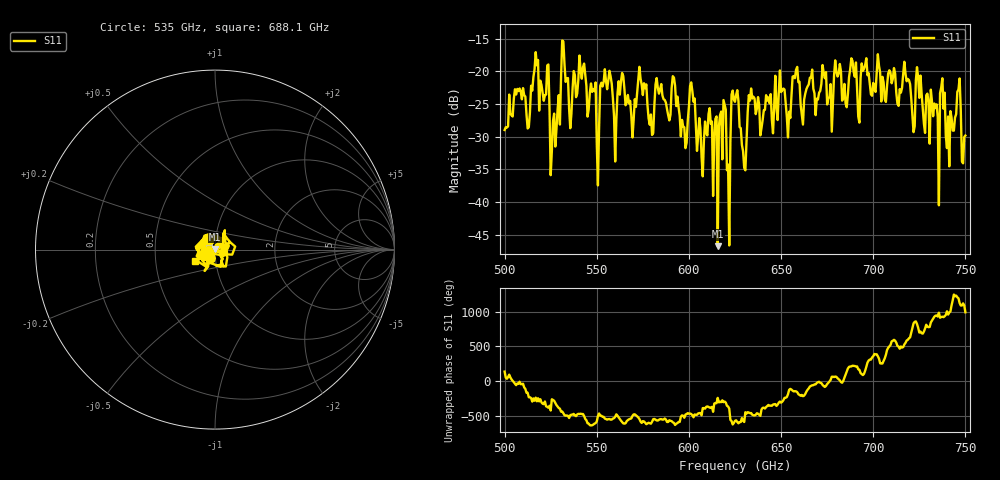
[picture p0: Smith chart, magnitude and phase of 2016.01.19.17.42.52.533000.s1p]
!Created with skrf (http://scikit-rf.org).
# GHz S RI R 50.0
!freq ReS11 ImS11
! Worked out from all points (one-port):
!   401 points, 500 GHz to 750 GHz, reference 50 ohm
!   lowest |S11| = -46.7 dB at 615.6 GHz (marker M1), VSWR 1.01, Z = 49.8 + j0.413 ohm
!   |S11| at or under -10 dB: start of sweep to end of sweep
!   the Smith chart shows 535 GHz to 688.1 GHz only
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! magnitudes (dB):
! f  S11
! 500 GHz  -29.0
! 513.1 GHz  -28.5
! 516.9 GHz  -17.1
! 526.2 GHz  -27.6
! 531.2 GHz  -15.3
! 535.6 GHz  -28.7
! 541.9 GHz  -21.1
! 550 GHz  -31.0
! 553.1 GHz  -22.3
! 560 GHz  -33.8
! 562.5 GHz  -23.6
! 579.4 GHz  -26.6
! 583.1 GHz  -22.5
! 593.8 GHz  -23.9
! 615.6 GHz  -46.7
! 618.8 GHz  -24.4
! 621.9 GHz  -46.6
! 625 GHz  -24.7
! 630 GHz  -34.8
! 633.8 GHz  -22.6
! 656.2 GHz  -20.8
! 687.5 GHz  -19.7
! 718.8 GHz  -21.2
! 734.4 GHz  -25.1
! 737.5 GHz  -21.1
! 740.6 GHz  -26.9
! 746.2 GHz  -22.8
! 750 GHz  -29.8
